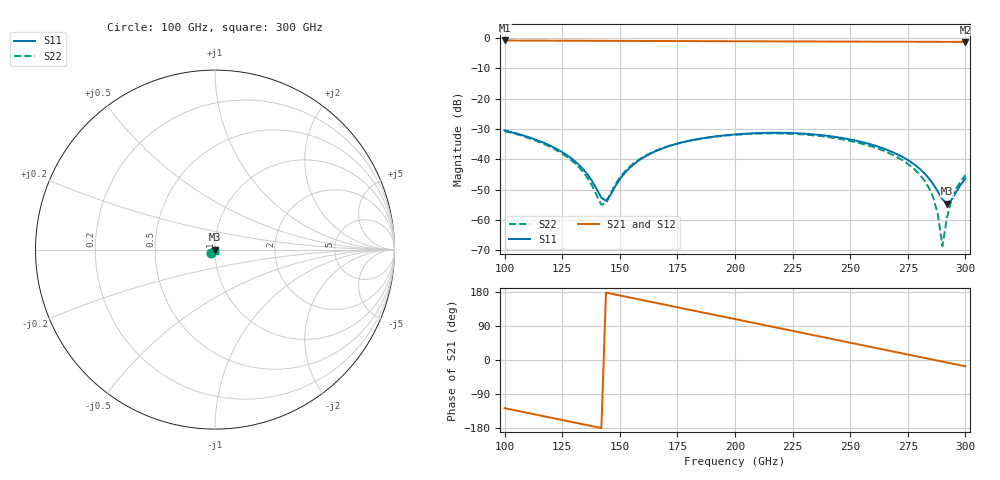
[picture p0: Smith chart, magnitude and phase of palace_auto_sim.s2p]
#  GHZ S DB R 50
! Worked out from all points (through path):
!   101 points, 100 GHz to 300 GHz, reference 50 ohm
!   highest |S21| = -0.76 dB at 100 GHz (marker M1); lowest = -1.2 dB at 300 GHz (marker M2)
!   group delay of S21, straight-line fit = 3.47 ps
!   lowest |S11| = -54.6 dB at 292 GHz (marker M3), VSWR 1.00, Z = 49.8 - j0.105 ohm
!   |S11| at or under -10 dB: start of sweep to end of sweep
!   |S22| runs from -68.6 to -30.6 dB; largest |S21 - S12| = 1.5e-14
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100  -30.41 -139.8  -0.76 -127.1  -0.76 -127.1  -30.62 -140.2
120  -35.54 -166.8  -0.82 -152.1  -0.82 -152.1  -35.93 -167.8
134  -43.12 -177.5  -0.85 -169.6  -0.85 -169.6  -44.06 -179.0
142  -52.62 -144.4  -0.88 -179.6  -0.88 -179.6  -54.95 -133.9
144  -53.63 -112.0  -0.88 177.9  -0.88 177.9  -54.46 -94.2
148  -48.88 -70.3  -0.89 172.9  -0.89 172.9  -48.30 -61.9
154  -42.95 -60.8  -0.91 165.4  -0.91 165.4  -42.58 -57.7
168  -36.50 -72.0  -0.94 147.9  -0.94 147.9  -36.40 -71.2
200  -31.74 -111.0  -1.03 108.0  -1.03 108.0  -31.87 -111.7
216  -31.19 -130.9  -1.06 88.0  -1.06 88.0  -31.40 -132.2
234  -31.71 -153.9  -1.10 65.6  -1.10 65.6  -32.04 -156.0
254  -34.05 -179.0  -1.14 40.7  -1.14 40.7  -34.58 177.4
268  -37.44 165.1  -1.17 23.2  -1.17 23.2  -38.31 159.2
278  -41.73 157.1  -1.19 10.7  -1.19 10.7  -43.30 147.1
284  -46.07 158.1  -1.20 3.3  -1.20 3.3  -49.11 141.9
286  -48.09 161.7  -1.20 0.8  -1.20 0.8  -52.45 142.1
288  -50.50 169.5  -1.21 -1.7  -1.21 -1.7  -57.87 147.1
290  -53.11 -174.2  -1.21 -4.2  -1.21 -4.2  -68.58 -156.7
292  -54.59 -145.7  -1.22 -6.7  -1.22 -6.7  -59.20 -73.8
294  -53.29 -116.5  -1.22 -9.2  -1.22 -9.2  -53.18 -66.8
296  -50.72 -99.4  -1.22 -11.7  -1.22 -11.7  -49.62 -66.2
300  -46.26 -87.4  -1.23 -16.7  -1.23 -16.7  -45.17 -69.1
